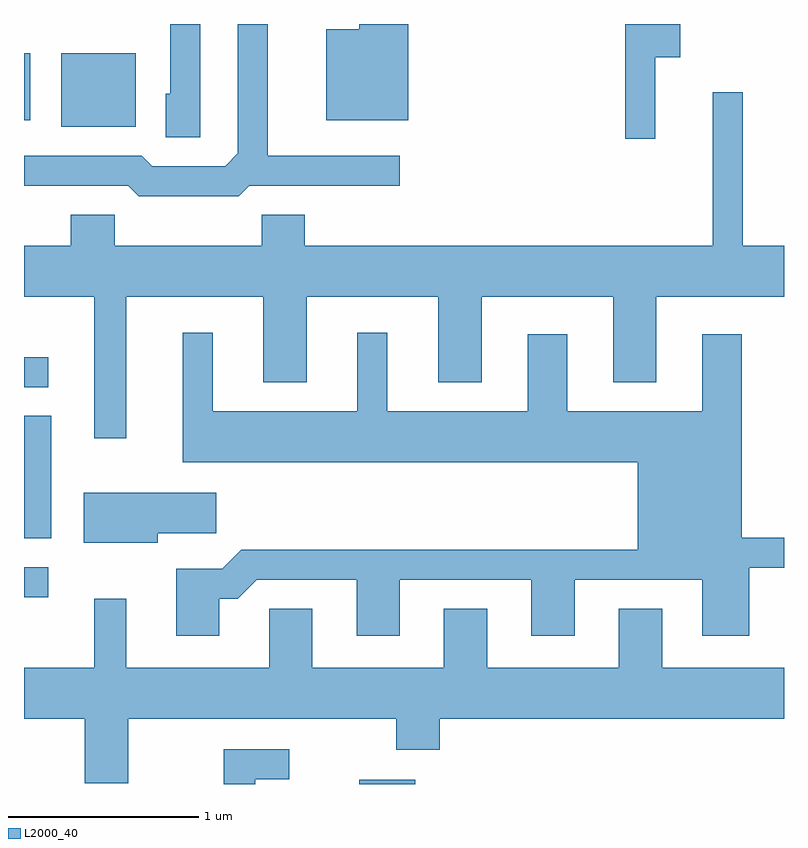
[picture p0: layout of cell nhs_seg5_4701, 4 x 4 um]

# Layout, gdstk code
import gdstk
lib = gdstk.Library(unit=1e-6, precision=1e-09)
def R(c, l, rs):  # rectangles x0, y0, x1, y1
    for r in rs: c.add(gdstk.rectangle(r[:2], r[2:], *l))
def P(c, l, *ps):  # polygons
    for p in ps: c.add(gdstk.Polygon(p, *l))
L2000_40 = (2000, 40)

nhs_seg5_4701 = lib.new_cell('nhs_seg5_4701')
R(nhs_seg5_4701, L2000_40, [(327.376,1392.072,327.669,1392.094), (325.611,1393.056,325.738,1393.214), (325.611,1393.366,325.754,1394.009), (325.611,1394.161,325.738,1394.319), (325.806,1395.531,326.199,1395.919), (325.611,1395.566,325.644,1395.919)])
P(nhs_seg5_4701, L2000_40, [(327.634,1396.072),(327.376,1396.072),(327.376,1396.044),(327.201,1396.044),(327.201,1395.566),(327.634,1395.566)],
  [(328.934,1395.896),(329.064,1395.896),(329.064,1396.072),(328.776,1396.072),(328.776,1395.468),(328.934,1395.468)],
  [(326.797,1395.221),(327.588,1395.221),(327.588,1395.379),(326.894,1395.379),(326.894,1396.072),(326.736,1396.072),(326.736,1395.392),(326.669,1395.324),(326.287,1395.324),(326.232,1395.379),(325.611,1395.379),(325.611,1395.221),(326.159,1395.221),(326.214,1395.166),(326.742,1395.166)],
  [(326.539,1396.072),(325.611,1396.072),(325.611,1396.071),(326.381,1396.071),(326.381,1395.704),(326.356,1395.704),(326.356,1395.476),(326.539,1395.476)],
  [(325.856,1394.904),(325.611,1394.904),(325.611,1394.636),(325.981,1394.636),(325.981,1393.893),(326.149,1393.893),(326.149,1394.636),(326.871,1394.636),(326.871,1394.186),(327.099,1394.186),(327.099,1394.636),(327.791,1394.636),(327.791,1394.186),(328.019,1394.186),(328.019,1394.636),(328.711,1394.636),(328.711,1394.186),(328.939,1394.186),(328.939,1394.636),(329.611,1394.636),(329.611,1394.904),(329.394,1394.904),(329.394,1395.713),(329.236,1395.713),(329.236,1394.904),(327.089,1394.904),(327.089,1395.069),(326.861,1395.069),(326.861,1394.904),(326.089,1394.904),(326.089,1395.069),(325.856,1395.069)],
  [(326.639,1393.046),(326.737,1393.046),(326.837,1393.146),(327.361,1393.146),(327.361,1392.851),(327.589,1392.851),(327.589,1393.146),(328.281,1393.146),(328.281,1392.851),(328.509,1392.851),(328.509,1393.146),(329.181,1393.146),(329.181,1392.851),(329.429,1392.851),(329.429,1393.211),(329.611,1393.211),(329.611,1393.369),(329.389,1393.369),(329.389,1394.439),(329.181,1394.439),(329.181,1394.034),(328.469,1394.034),(328.469,1394.439),(328.261,1394.439),(328.261,1394.034),(327.524,1394.034),(327.524,1394.448),(327.366,1394.448),(327.366,1394.034),(326.604,1394.034),(326.604,1394.448),(326.446,1394.448),(326.446,1393.766),(328.841,1393.766),(328.841,1393.304),(326.754,1393.304),(326.654,1393.204),(326.411,1393.204),(326.411,1392.851),(326.639,1392.851)],
  [(326.314,1393.391),(326.624,1393.391),(326.624,1393.604),(325.926,1393.604),(325.926,1393.341),(326.314,1393.341)],
  [(326.159,1392.416),(327.571,1392.416),(327.571,1392.251),(327.799,1392.251),(327.799,1392.416),(329.611,1392.416),(329.611,1392.684),(328.969,1392.684),(328.969,1392.994),(328.741,1392.994),(328.741,1392.684),(328.049,1392.684),(328.049,1392.994),(327.821,1392.994),(327.821,1392.684),(327.129,1392.684),(327.129,1392.994),(326.901,1392.994),(326.901,1392.684),(326.149,1392.684),(326.149,1393.048),(325.981,1393.048),(325.981,1392.684),(325.611,1392.684),(325.611,1392.416),(325.931,1392.416),(325.931,1392.076),(326.159,1392.076)],
  [(326.829,1392.096),(327.008,1392.096),(327.008,1392.254),(326.661,1392.254),(326.661,1392.072),(326.829,1392.072)])

lib.write_gds('nhs_seg5_4701.gds')
